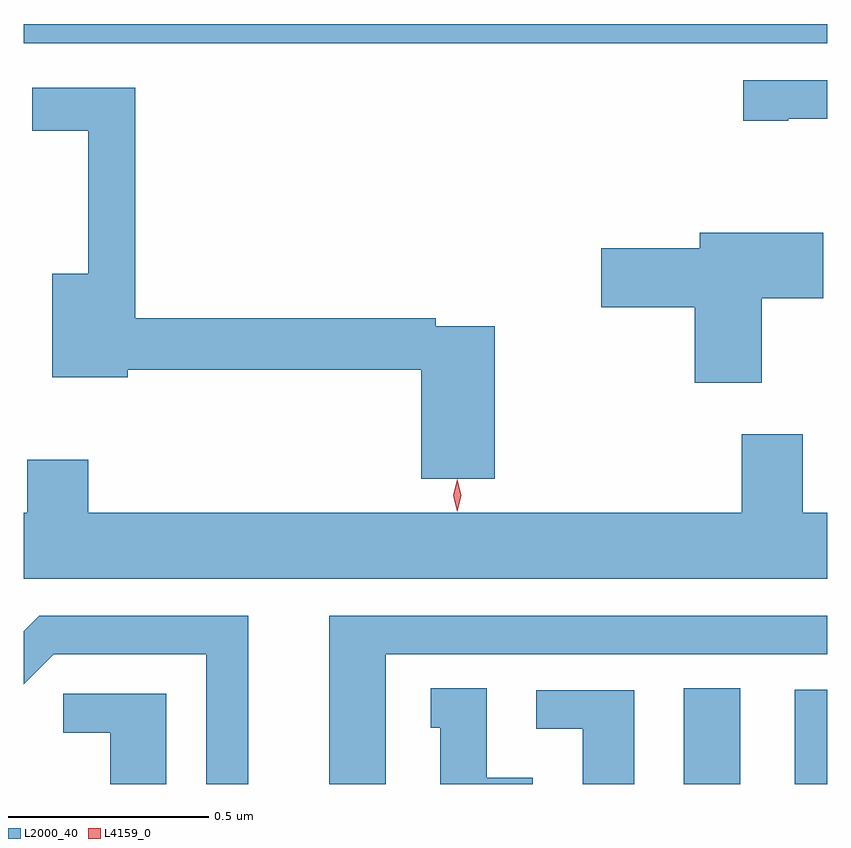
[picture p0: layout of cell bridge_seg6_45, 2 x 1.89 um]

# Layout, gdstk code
import gdstk
lib = gdstk.Library(unit=1e-6, precision=1e-09)
def R(c, l, rs):  # rectangles x0, y0, x1, y1
    for r in rs: c.add(gdstk.rectangle(r[:2], r[2:], *l))
def P(c, l, *ps):  # polygons
    for p in ps: c.add(gdstk.Polygon(p, *l))
L2000_40 = (2000, 40)
L4159_0 = (4159, 0)

bridge_seg6_45 = lib.new_cell('bridge_seg6_45')
R(bridge_seg6_45, L2000_40, [(1094.168,996.109,1094.308,996.347), (1094.444,996.109,1094.525,996.343), (1092.525,997.952,1094.525,998)])
P(bridge_seg6_45, L2000_40, [(1094.428,997.764),(1094.525,997.764),(1094.525,997.86),(1094.316,997.86),(1094.316,997.759),(1094.428,997.759)],
  [(1093.697,997.248),(1093.55,997.248),(1093.55,997.268),(1092.803,997.268),(1092.803,997.842),(1092.546,997.842),(1092.546,997.734),(1092.686,997.734),(1092.686,997.378),(1092.596,997.378),(1092.596,997.121),(1092.784,997.121),(1092.784,997.14),(1093.514,997.14),(1093.514,996.869),(1093.697,996.869)],
  [(1094.362,997.318),(1094.515,997.318),(1094.515,997.48),(1094.207,997.48),(1094.207,997.442),(1093.962,997.442),(1093.962,997.295),(1094.195,997.295),(1094.195,997.107),(1094.362,997.107)],
  [(1094.525,996.784),(1094.464,996.784),(1094.464,996.979),(1094.312,996.979),(1094.312,996.784),(1092.686,996.784),(1092.686,996.916),(1092.534,996.916),(1092.534,996.784),(1092.525,996.784),(1092.525,996.62),(1094.525,996.62)],
  [(1093.084,996.528),(1092.564,996.528),(1092.525,996.489),(1092.525,996.357),(1092.6,996.432),(1092.98,996.432),(1092.98,996.109),(1093.084,996.109)],
  [(1093.426,996.432),(1094.525,996.432),(1094.525,996.528),(1093.286,996.528),(1093.286,996.109),(1093.426,996.109)],
  [(1093.792,996.124),(1093.678,996.124),(1093.678,996.347),(1093.538,996.347),(1093.538,996.249),(1093.562,996.249),(1093.562,996.109),(1093.792,996.109)],
  [(1094.044,996.342),(1093.8,996.342),(1093.8,996.246),(1093.916,996.246),(1093.916,996.109),(1094.044,996.109)],
  [(1092.88,996.333),(1092.624,996.333),(1092.624,996.236),(1092.74,996.236),(1092.74,996.109),(1092.88,996.109)])
P(bridge_seg6_45, L4159_0, [(1093.604,996.786),(1093.604,996.786),(1093.594,996.826),(1093.604,996.867),(1093.604,996.867),(1093.604,996.867),(1093.614,996.826),(1093.604,996.786)])

lib.write_gds('bridge_seg6_45.gds')
